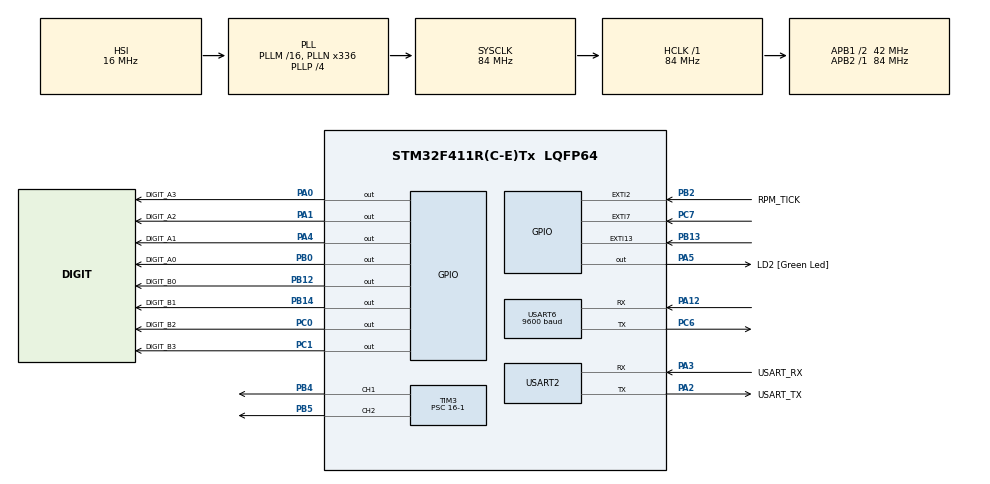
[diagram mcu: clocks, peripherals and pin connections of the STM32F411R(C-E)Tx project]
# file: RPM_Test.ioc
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Mcu.Family=STM32F4
Mcu.Name=STM32F411R(C-E)Tx
Mcu.Package=LQFP64
NVIC.EXTI2_IRQn=true\:0\:0\:false\:false\:true\:true\:true\:true
NVIC.PriorityGroup=NVIC_PRIORITYGROUP_0
PA0-WKUP.GPIO_Label=DIGIT_A3
PA0-WKUP.Signal=GPIO_Output
PA1.GPIO_Label=DIGIT_A2
PA1.Signal=GPIO_Output
PA12.Mode=Asynchronous
PA12.Signal=USART6_RX
PA13.GPIO_Label=TMS
PA13.Mode=Serial_Wire
PA13.Signal=SYS_JTMS-SWDIO
PA14.GPIO_Label=TCK
PA14.Mode=Serial_Wire
PA14.Signal=SYS_JTCK-SWCLK
PA2.GPIO_Label=USART_TX
PA2.Mode=Asynchronous
PA2.Signal=USART2_TX
PA3.GPIO_Label=USART_RX
PA3.Mode=Asynchronous
PA3.Signal=USART2_RX
PA4.GPIO_Label=DIGIT_A1
PA4.Signal=GPIO_Output
PA5.GPIO_Label=LD2 [Green Led]
PA5.Signal=GPIO_Output
PB0.GPIO_Label=DIGIT_A0
PB0.Signal=GPIO_Output
PB12.GPIO_Label=DIGIT_B0
PB12.Signal=GPIO_Output
PB13.Signal=GPXTI13
PB14.GPIO_Label=DIGIT_B1
PB14.Signal=GPIO_Output
PB2.GPIO_Label=RPM_TICK
PB2.Signal=GPXTI2
PB3.GPIO_Label=SWO
PB3.Signal=SYS_JTDO-SWO
PB4.Signal=S_TIM3_CH1
PB5.Signal=S_TIM3_CH2
PC0.GPIO_Label=DIGIT_B2
PC0.Signal=GPIO_Output
PC1.GPIO_Label=DIGIT_B3
PC1.Signal=GPIO_Output
PC14-OSC32_IN.Mode=LSE-External-Oscillator
PC14-OSC32_IN.Signal=RCC_OSC32_IN
PC15-OSC32_OUT.Mode=LSE-External-Oscillator
PC15-OSC32_OUT.Signal=RCC_OSC32_OUT
PC6.Mode=Asynchronous
PC6.Signal=USART6_TX
PC7.Signal=GPXTI7
PH0\ -\ OSC_IN.Mode=HSE-External-Clock-Source
PH0\ -\ OSC_IN.Signal=RCC_OSC_IN
PH1\ -\ OSC_OUT.Mode=HSE-External-Clock-Source
PH1\ -\ OSC_OUT.Signal=RCC_OSC_OUT
ProjectManager.HeapSize=0x200
ProjectManager.StackSize=0x400
ProjectManager.TargetToolchain=STM32CubeIDE
RCC.48MHZClocksFreq_Value=84000000
RCC.AHBFreq_Value=84000000
RCC.APB1CLKDivider=RCC_HCLK_DIV2
RCC.APB1Freq_Value=42000000
RCC.APB1TimFreq_Value=84000000
RCC.APB2Freq_Value=84000000
RCC.APB2TimFreq_Value=84000000
RCC.CortexFreq_Value=84000000
RCC.FLatency-AdvancedSettings=FLASH_LATENCY_2
RCC.HCLKFreq_Value=84000000
RCC.HSE_VALUE=8000000
RCC.HSI_VALUE=16000000
RCC.PLLN=336
RCC.PLLP=RCC_PLLP_DIV4
RCC.SYSCLKFreq_VALUE=84000000
RCC.SYSCLKSource=RCC_SYSCLKSOURCE_PLLCLK
RCC.VCOOutputFreq_Value=336000000
SH.S_TIM3_CH1.0=TIM3_CH1,PWM Generation1 CH1
SH.S_TIM3_CH2.0=TIM3_CH2,PWM Generation2 CH2
TIM3.AutoReloadPreload=TIM_AUTORELOAD_PRELOAD_ENABLE
TIM3.Channel-PWM\ Generation1\ CH1=TIM_CHANNEL_1
TIM3.Channel-PWM\ Generation2\ CH2=TIM_CHANNEL_2
TIM3.Period=2000-1
TIM3.Prescaler=16-1
TIM3.Pulse-PWM\ Generation1\ CH1=1200-1
USART2.VirtualMode=VM_ASYNC
USART6.BaudRate=9600
USART6.VirtualMode=VM_ASYNC
VP_TIM3_VS_ClockSourceINT.Mode=Internal
board=NUCLEO-F411RE

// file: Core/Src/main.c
/* USER CODE BEGIN Header */
/**
  ******************************************************************************
  * @file           : main.c
  * @brief          : Main program body
  ******************************************************************************
  * @attention
  *
  * Copyright (c) 2024 STMicroelectronics.
  * All rights reserved.
  *
  * This software is licensed under terms that can be found in the LICENSE file
  * in the root directory of this software component.
  * If no LICENSE file comes with this software, it is provided AS-IS.
  *
  ******************************************************************************
  */
/* USER CODE END Header */
#include "main.h"
#include <stdio.h>
#include <string.h>

TIM_HandleTypeDef htim3;

UART_HandleTypeDef huart2;
UART_HandleTypeDef huart6;

void SystemClock_Config(void);
static void MX_GPIO_Init(void);
static void MX_USART2_UART_Init(void);
static void MX_USART6_UART_Init(void);
static void MX_TIM3_Init(void);

/* USER CODE BEGIN 0 */
uint8_t rpm_tick_count = 0;
/* USER CODE END 0 */

int main(void)
{
	uint8_t txd_message_buffer[64] = {0};
  /* USER CODE BEGIN 1 */
	void DIGITS_Display(uint8_t DIGIT_A, uint8_t DIGIT_B)
	{
		 uint8_t DIGITA_VAL = 0x0F & DIGIT_A; //mask off higher4 bits
		 int Abit0 = (DIGITA_VAL ) & 1;  	// extract Abit0 of the 4-bit value
		 int Abit1 = (DIGITA_VAL >> 1) & 1;  // extract Abit1 of the 4-bit value
		 int Abit2 = (DIGITA_VAL >> 2) & 1;  // extract Abit2 of the 4-bit value
		 int Abit3 = (DIGITA_VAL >> 3) & 1;  // extract Abit3 of the 4-bit value

		 uint8_t DIGITB_VAL = 0x0F & DIGIT_B; //mask off higher4 bits
		 int Bbit0 = (DIGITB_VAL ) & 1;  	// extract Bbit0 of the 4-bit value
		 int Bbit1 = (DIGITB_VAL >> 1) & 1;  // extract Bbit1 of the 4-bit value
		 int Bbit2 = (DIGITB_VAL >> 2) & 1;  // extract Bbit2 of the 4-bit value
		 int Bbit3 = (DIGITB_VAL >> 3) & 1;  // extract Bbit3 of the 4-bit value

		 if (Abit0 == (0))
		 {
			 HAL_GPIO_WritePin(GPIOB, DIGIT_A0_Pin, GPIO_PIN_RESET);
		 }
		 else
		 {
			 HAL_GPIO_WritePin(GPIOB, DIGIT_A0_Pin, GPIO_PIN_SET);

		 }
		 if (Abit1 == (0))
		 {
			 HAL_GPIO_WritePin(GPIOA, DIGIT_A1_Pin, GPIO_PIN_RESET);
		 }
		 else
		 {
			 HAL_GPIO_WritePin(GPIOA, DIGIT_A1_Pin, GPIO_PIN_SET);

		 }
		 if (Abit2 == (0))
		 {
			 HAL_GPIO_WritePin(GPIOA, DIGIT_A2_Pin, GPIO_PIN_RESET);
		 }
		 else
		 {
			 HAL_GPIO_WritePin(GPIOA, DIGIT_A2_Pin, GPIO_PIN_SET);

		 }
		 if (Abit3 == (0))
		 {
			 HAL_GPIO_WritePin(GPIOA, DIGIT_A3_Pin, GPIO_PIN_RESET);
		 }
		 else
		 {
			 HAL_GPIO_WritePin(GPIOA, DIGIT_A3_Pin, GPIO_PIN_SET);

		 }

		 if (Bbit0 == (0))
		 {
			 HAL_GPIO_WritePin(GPIOB, DIGIT_B0_Pin, GPIO_PIN_RESET);
		 }
		 else
		 {
			 HAL_GPIO_WritePin(GPIOB, DIGIT_B0_Pin, GPIO_PIN_SET);

		 }
		 if (Bbit1 == (0))
		 {
			 HAL_GPIO_WritePin(GPIOB, DIGIT_B1_Pin, GPIO_PIN_RESET);
		 }
		 else
		 {
			 HAL_GPIO_WritePin(GPIOB, DIGIT_B1_Pin, GPIO_PIN_SET);

		 }
		 if (Bbit2 == (0))
		 {
			 HAL_GPIO_WritePin(GPIOC, DIGIT_B2_Pin, GPIO_PIN_RESET);
		 }
		 else
		 {
			 HAL_GPIO_WritePin(GPIOC, DIGIT_B2_Pin, GPIO_PIN_SET);

		 }
		 if (Bbit3 == (0))
		 {
			 HAL_GPIO_WritePin(GPIOC, DIGIT_B3_Pin, GPIO_PIN_RESET);
		 }
		 else
		 {
			 HAL_GPIO_WritePin(GPIOC, DIGIT_B3_Pin, GPIO_PIN_SET);

		 }
	}
  /* USER CODE END 1 */

  /* MCU Configuration--------------------------------------------------------*/

  /* Reset of all peripherals, Initializes the Flash interface and the Systick. */
  HAL_Init();

  /* Configure the system clock */
  SystemClock_Config();

  /* Initialize all configured peripherals */
  MX_GPIO_Init();
  MX_USART2_UART_Init();
  MX_USART6_UART_Init();
  MX_TIM3_Init();
  /* USER CODE BEGIN 2 */
  HAL_TIM_Base_Init(&htim3);
  HAL_TIM_PWM_Start(&htim3, TIM_CHANNEL_1);
  HAL_TIM_PWM_Start(&htim3, TIM_CHANNEL_2);
  /* USER CODE END 2 */
  uint8_t timer = 74;
  uint8_t timer_ones = timer % 10;
  uint8_t timer_tens = (timer - timer_ones) / 10;
  /* Infinite loop */
  /* USER CODE BEGIN WHILE */

  DIGITS_Display(timer_tens, timer_ones);  // DISPLAYS DIGITS

  while (1)
  {
    /* USER CODE END WHILE */
	  sprintf((char*)txd_message_buffer, "Number of Ticks: %d \r\n", rpm_tick_count);
	  HAL_UART_Transmit(&huart6, txd_message_buffer, strlen((char*)txd_message_buffer),1000);
	  HAL_Delay(1000);
  }
}

void SystemClock_Config(void)
{
  RCC_OscInitTypeDef RCC_OscInitStruct = {0};
  RCC_ClkInitTypeDef RCC_ClkInitStruct = {0};

  /** Configure the main internal regulator output voltage
  */
  __HAL_RCC_PWR_CLK_ENABLE();
  __HAL_PWR_VOLTAGESCALING_CONFIG(PWR_REGULATOR_VOLTAGE_SCALE1);

  /** Initializes the RCC Oscillators according to the specified parameters
  * in the RCC_OscInitTypeDef structure.
  */
  RCC_OscInitStruct.OscillatorType = RCC_OSCILLATORTYPE_HSI;
  RCC_OscInitStruct.HSIState = RCC_HSI_ON;
  RCC_OscInitStruct.HSICalibrationValue = RCC_HSICALIBRATION_DEFAULT;
  RCC_OscInitStruct.PLL.PLLState = RCC_PLL_ON;
  RCC_OscInitStruct.PLL.PLLSource = RCC_PLLSOURCE_HSI;
  RCC_OscInitStruct.PLL.PLLM = 16;
  RCC_OscInitStruct.PLL.PLLN = 336;
  RCC_OscInitStruct.PLL.PLLP = RCC_PLLP_DIV4;
  RCC_OscInitStruct.PLL.PLLQ = 4;
  if (HAL_RCC_OscConfig(&RCC_OscInitStruct) != HAL_OK)
  {
    Error_Handler();
  }

  /** Initializes the CPU, AHB and APB buses clocks
  */
  RCC_ClkInitStruct.ClockType = RCC_CLOCKTYPE_HCLK|RCC_CLOCKTYPE_SYSCLK
                              |RCC_CLOCKTYPE_PCLK1|RCC_CLOCKTYPE_PCLK2;
  RCC_ClkInitStruct.SYSCLKSource = RCC_SYSCLKSOURCE_PLLCLK;
  RCC_ClkInitStruct.AHBCLKDivider = RCC_SYSCLK_DIV1;
  RCC_ClkInitStruct.APB1CLKDivider = RCC_HCLK_DIV2;
  RCC_ClkInitStruct.APB2CLKDivider = RCC_HCLK_DIV1;

  if (HAL_RCC_ClockConfig(&RCC_ClkInitStruct, FLASH_LATENCY_2) != HAL_OK)
  {
    Error_Handler();
  }
}

static void MX_TIM3_Init(void)
{

  TIM_ClockConfigTypeDef sClockSourceConfig = {0};
  TIM_MasterConfigTypeDef sMasterConfig = {0};
  TIM_OC_InitTypeDef sConfigOC = {0};

  htim3.Instance = TIM3;
  htim3.Init.Prescaler = 16-1;
  htim3.Init.CounterMode = TIM_COUNTERMODE_UP;
  htim3.Init.Period = 2000-1;
  htim3.Init.ClockDivision = TIM_CLOCKDIVISION_DIV1;
  htim3.Init.AutoReloadPreload = TIM_AUTORELOAD_PRELOAD_ENABLE;
  if (HAL_TIM_Base_Init(&htim3) != HAL_OK)
  {
    Error_Handler();
  }
  sClockSourceConfig.ClockSource = TIM_CLOCKSOURCE_INTERNAL;
  if (HAL_TIM_ConfigClockSource(&htim3, &sClockSourceConfig) != HAL_OK)
  {
    Error_Handler();
  }
  if (HAL_TIM_PWM_Init(&htim3) != HAL_OK)
  {
    Error_Handler();
  }
  sMasterConfig.MasterOutputTrigger = TIM_TRGO_RESET;
  sMasterConfig.MasterSlaveMode = TIM_MASTERSLAVEMODE_DISABLE;
  if (HAL_TIMEx_MasterConfigSynchronization(&htim3, &sMasterConfig) != HAL_OK)
  {
    Error_Handler();
  }
  sConfigOC.OCMode = TIM_OCMODE_PWM1;
  sConfigOC.Pulse = 1200-1;
  sConfigOC.OCPolarity = TIM_OCPOLARITY_HIGH;
  sConfigOC.OCFastMode = TIM_OCFAST_DISABLE;
  if (HAL_TIM_PWM_ConfigChannel(&htim3, &sConfigOC, TIM_CHANNEL_1) != HAL_OK)
  {
    Error_Handler();
  }
  sConfigOC.Pulse = 0;
  if (HAL_TIM_PWM_ConfigChannel(&htim3, &sConfigOC, TIM_CHANNEL_2) != HAL_OK)
  {
    Error_Handler();
  }
  HAL_TIM_MspPostInit(&htim3);

}

static void MX_USART2_UART_Init(void)
{

  huart2.Instance = USART2;
  huart2.Init.BaudRate = 115200;
  huart2.Init.WordLength = UART_WORDLENGTH_8B;
  huart2.Init.StopBits = UART_STOPBITS_1;
  huart2.Init.Parity = UART_PARITY_NONE;
  huart2.Init.Mode = UART_MODE_TX_RX;
  huart2.Init.HwFlowCtl = UART_HWCONTROL_NONE;
  huart2.Init.OverSampling = UART_OVERSAMPLING_16;
  if (HAL_UART_Init(&huart2) != HAL_OK)
  {
    Error_Handler();
  }

}

static void MX_USART6_UART_Init(void)
{

  huart6.Instance = USART6;
  huart6.Init.BaudRate = 9600;
  huart6.Init.WordLength = UART_WORDLENGTH_8B;
  huart6.Init.StopBits = UART_STOPBITS_1;
  huart6.Init.Parity = UART_PARITY_NONE;
  huart6.Init.Mode = UART_MODE_TX_RX;
  huart6.Init.HwFlowCtl = UART_HWCONTROL_NONE;
  huart6.Init.OverSampling = UART_OVERSAMPLING_16;
  if (HAL_UART_Init(&huart6) != HAL_OK)
  {
    Error_Handler();
  }

}

static void MX_GPIO_Init(void)
{
  GPIO_InitTypeDef GPIO_InitStruct = {0};

  /* GPIO Ports Clock Enable */
  __HAL_RCC_GPIOC_CLK_ENABLE();
  __HAL_RCC_GPIOH_CLK_ENABLE();
  __HAL_RCC_GPIOA_CLK_ENABLE();
  __HAL_RCC_GPIOB_CLK_ENABLE();

  /*Configure GPIO pin Output Level */
  HAL_GPIO_WritePin(GPIOC, DIGIT_B2_Pin|DIGIT_B3_Pin, GPIO_PIN_RESET);

  /*Configure GPIO pin Output Level */
  HAL_GPIO_WritePin(GPIOA, DIGIT_A3_Pin|DIGIT_A2_Pin|DIGIT_A1_Pin|LD2_Pin, GPIO_PIN_RESET);

  /*Configure GPIO pin Output Level */
  HAL_GPIO_WritePin(GPIOB, DIGIT_A0_Pin|DIGIT_B0_Pin|DIGIT_B1_Pin, GPIO_PIN_RESET);

  /*Configure GPIO pins : DIGIT_B2_Pin DIGIT_B3_Pin */
  GPIO_InitStruct.Pin = DIGIT_B2_Pin|DIGIT_B3_Pin;
  GPIO_InitStruct.Mode = GPIO_MODE_OUTPUT_PP;
  GPIO_InitStruct.Pull = GPIO_NOPULL;
  GPIO_InitStruct.Speed = GPIO_SPEED_FREQ_LOW;
  HAL_GPIO_Init(GPIOC, &GPIO_InitStruct);

  /*Configure GPIO pins : DIGIT_A3_Pin DIGIT_A2_Pin DIGIT_A1_Pin LD2_Pin */
  GPIO_InitStruct.Pin = DIGIT_A3_Pin|DIGIT_A2_Pin|DIGIT_A1_Pin|LD2_Pin;
  GPIO_InitStruct.Mode = GPIO_MODE_OUTPUT_PP;
  GPIO_InitStruct.Pull = GPIO_NOPULL;
  GPIO_InitStruct.Speed = GPIO_SPEED_FREQ_LOW;
  HAL_GPIO_Init(GPIOA, &GPIO_InitStruct);

  /*Configure GPIO pins : DIGIT_A0_Pin DIGIT_B0_Pin DIGIT_B1_Pin */
  GPIO_InitStruct.Pin = DIGIT_A0_Pin|DIGIT_B0_Pin|DIGIT_B1_Pin;
  GPIO_InitStruct.Mode = GPIO_MODE_OUTPUT_PP;
  GPIO_InitStruct.Pull = GPIO_NOPULL;
  GPIO_InitStruct.Speed = GPIO_SPEED_FREQ_LOW;
  HAL_GPIO_Init(GPIOB, &GPIO_InitStruct);

  /*Configure GPIO pins : RPM_TICK_Pin PB13 */
  GPIO_InitStruct.Pin = RPM_TICK_Pin|GPIO_PIN_13;
  GPIO_InitStruct.Mode = GPIO_MODE_IT_RISING;
  GPIO_InitStruct.Pull = GPIO_NOPULL;
  HAL_GPIO_Init(GPIOB, &GPIO_InitStruct);

  /*Configure GPIO pin : PC7 */
  GPIO_InitStruct.Pin = GPIO_PIN_7;
  GPIO_InitStruct.Mode = GPIO_MODE_IT_RISING;
  GPIO_InitStruct.Pull = GPIO_NOPULL;
  HAL_GPIO_Init(GPIOC, &GPIO_InitStruct);

  /* EXTI interrupt init*/
  HAL_NVIC_SetPriority(EXTI2_IRQn, 0, 0);
  HAL_NVIC_EnableIRQ(EXTI2_IRQn);

}

/* USER CODE BEGIN 4 */
void HAL_GPIO_EXTI_Callback (uint16_t GPIO_Pin){
	if (GPIO_Pin == RPM_TICK_Pin){				// NOTE THAT RPM CALCULATIONS NEED A CALLBACK
		rpm_tick_count += 1;
	}
}
/* USER CODE END 4 */

void Error_Handler(void)
{
  __disable_irq();
  while (1)
  {
  }
}
